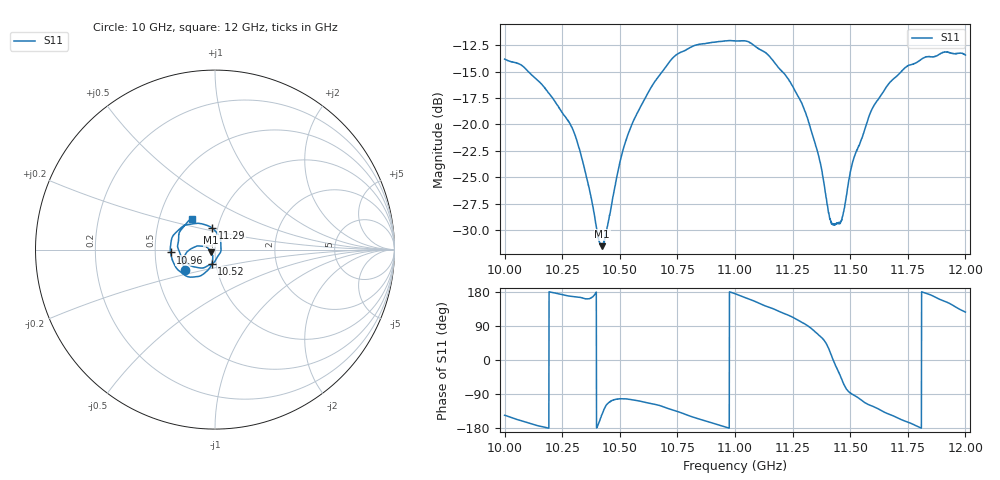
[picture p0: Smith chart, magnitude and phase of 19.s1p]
[Version] 2.0
! Rohde & Schwarz Vector Network Analyzer
! Rohde-Schwarz,ZNL20-2Port,1323001220200009,1.71.1.10-23.02.1.238
! Port Assignments:
! Nominal Port -> Actual Test Port
!  1 -> 1
! Created: GMT 2024-08-27 12:56:12
# Hz S DB R 50
[Number of Ports] 1
! freq[Hz]  S11[mag dB]  S11[ang]
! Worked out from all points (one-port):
!   2001 points, 10 GHz to 12 GHz, reference 50 ohm
!   lowest |S11| = -31.5 dB at 10.42 GHz (marker M1), VSWR 1.05, Z = 47.9 - j1.53 ohm
!   |S11| at or under -10 dB: start of sweep to end of sweep
!   S11 on the Smith chart (normalised r, x): 10 GHz: 0.70, -0.17; 10.52 GHz: 0.95, -0.15; 10.96 GHz: 0.60, -0.02; 11.29 GHz: 0.94, +0.23; 12 GHz: 0.74, +0.26
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[Number of Frequencies] 28
[Network Data]
1e10  -13.82 -145.9
1.0084e10  -14.59 -162.3
1.025e10  -18.88 172.5
1.0317e10  -21.75 166.3
1.0367e10  -26.04 161.7
1.0406e10  -30.71 -171.0
1.0423e10  -31.52 -143.1
1.0441e10  -30.22 -119.3
1.05e10  -23.60 -102.4
1.0522e10  -21.84 -102.4
1.0633e10  -16.62 -114.9
1.075e10  -13.34 -135.9
1.0836e10  -12.46 -154.2
1.0955e10  -12.10 -176.3
1.1e10  -12.10 174.9
1.1133e10  -13.21 142.3
1.125e10  -16.38 112.9
1.1295e10  -18.26 97.9
1.1363e10  -22.96 66.0
1.1406e10  -28.39 31.5
1.1421e10  -29.37 7.6
1.1463e10  -29.01 -50.1
1.15e10  -24.55 -87.2
1.1598e10  -18.41 -122.3
1.1667e10  -16.14 -142.5
1.175e10  -14.47 -164.0
1.1903e10  -13.18 156.5
1.2e10  -13.43 126.5
[End]
